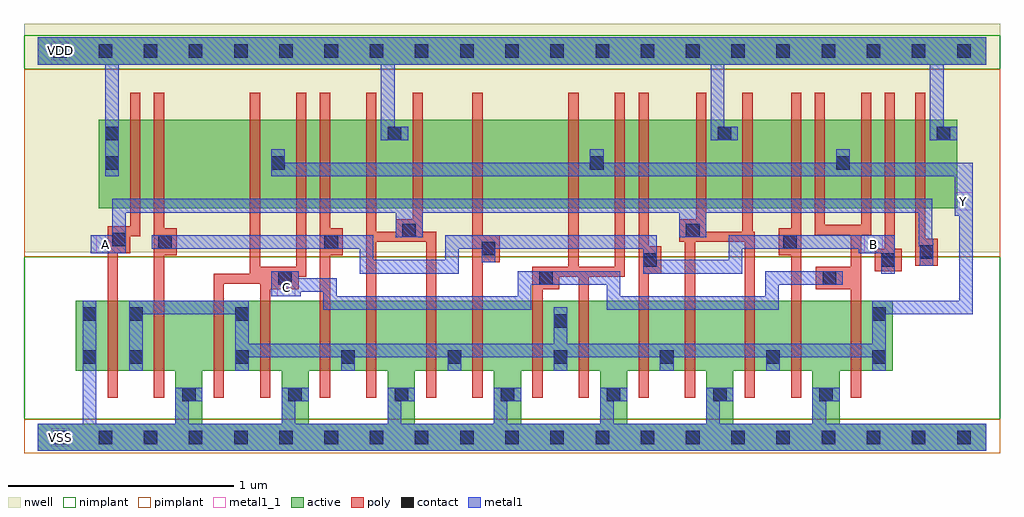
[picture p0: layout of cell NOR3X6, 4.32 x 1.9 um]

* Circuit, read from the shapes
.subckt NOR3X6 A B C VDD VSS Y
M1 Y A VSS VSS nfet w=0.31u l=0.045u m=5
M2 VSS B Y VSS nfet w=0.31u l=0.045u m=5
M3 Y C VSS VSS nfet w=0.31u l=0.045u m=5
M4 n1 A VDD VDD pfet w=0.39u l=0.045u
M5 n2 B n1 VDD pfet w=0.39u l=0.045u
M6 Y C n2 VDD pfet w=0.39u l=0.045u
M7 n3 C Y VDD pfet w=0.39u l=0.045u
M8 n4 B n3 VDD pfet w=0.39u l=0.045u
M9 VDD A n4 VDD pfet w=0.39u l=0.045u
M10 n5 A VDD VDD pfet w=0.39u l=0.045u
M11 n6 B n5 VDD pfet w=0.39u l=0.045u
M12 Y C n6 VDD pfet w=0.39u l=0.045u
M13 n7 C Y VDD pfet w=0.39u l=0.045u
M14 n8 B n7 VDD pfet w=0.39u l=0.045u
M15 VDD A n8 VDD pfet w=0.39u l=0.045u
M16 n9 A VDD VDD pfet w=0.39u l=0.045u
M17 n10 B n9 VDD pfet w=0.39u l=0.045u
M18 Y C n10 VDD pfet w=0.39u l=0.045u
M19 n11 C Y VDD pfet w=0.39u l=0.045u
M20 n12 B n11 VDD pfet w=0.39u l=0.045u
M21 VDD A n12 VDD pfet w=0.39u l=0.045u
.ends

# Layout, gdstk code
import gdstk
lib = gdstk.Library(unit=1e-6, precision=5e-10)
def R(c, l, rs):  # rectangles x0, y0, x1, y1
    for r in rs: c.add(gdstk.rectangle(r[:2], r[2:], *l))
def A(c, l, x, y, w, h, nx, ny, dx, dy):  # array of equal rectangles
    R(c, l, [(x+i*dx, y+j*dy, x+i*dx+w, y+j*dy+h) for i in range(nx) for j in range(ny)])
def P(c, l, *ps):  # polygons
    for p in ps: c.add(gdstk.Polygon(p, *l))
active = (1, 0)
nwell = (2, 0)
poly = (3, 0)
nimplant = (4, 0)
pimplant = (5, 0)
contact = (6, 0)
metal1 = (7, 0)
metal1_1 = (7, 1)

nor3x6 = lib.new_cell('NOR3X6')
R(nor3x6, active, [(0.27,1.015,4.07,1.405), (0,1.65,4.2,1.77)])
P(nor3x6, active, [(0.17,0.605),(3.785,0.605),(3.785,0.295),(3.55,0.295),(3.55,0.06),(4.2,0.06),(4.2,-0.06),(0,-0.06),(0,0.06),(0.61,0.06),(0.61,0.295),(0.73,0.295),(0.73,0.06),(1.08,0.06),(1.08,0.295),(1.2,0.295),(1.2,0.06),(1.55,0.06),(1.55,0.295),(1.67,0.295),(1.67,0.06),(2.02,0.06),(2.02,0.295),(2.14,0.295),(2.14,0.06),(2.49,0.06),(2.49,0.295),(2.61,0.295),(2.61,0.06),(2.96,0.06),(2.96,0.295),(3.08,0.295),(3.08,0.06),(3.43,0.06),(3.43,0.295),(0.17,0.295)])
R(nor3x6, nwell, [(-0.06,0.82,4.26,1.83)])
P(nor3x6, poly, [(0.41,1.525),(0.455,1.525),(0.455,0.89),(0.41,0.89),(0.41,0.815),(0.355,0.815),(0.355,0.175),(0.31,0.175),(0.31,0.935),(0.41,0.935)],
  [(0.515,1.525),(0.56,1.525),(0.56,0.925),(0.615,0.925),(0.615,0.805),(0.56,0.805),(0.56,0.175),(0.515,0.175)],
  [(0.94,1.525),(0.985,1.525),(0.985,0.755),(1.145,0.755),(1.145,1.525),(1.19,1.525),(1.19,0.71),(1.155,0.71),(1.155,0.655),(1.03,0.655),(1.03,0.175),(0.985,0.175),(0.985,0.68),(0.825,0.68),(0.825,0.175),(0.78,0.175),(0.78,0.725),(0.94,0.725)],
  [(1.25,1.525),(1.295,1.525),(1.295,0.925),(1.35,0.925),(1.35,0.805),(1.295,0.805),(1.295,0.175),(1.25,0.175)],
  [(1.455,1.525),(1.5,1.525),(1.5,0.91),(1.585,0.91),(1.585,0.965),(1.66,0.965),(1.66,1.525),(1.705,1.525),(1.705,0.91),(1.765,0.91),(1.765,0.175),(1.72,0.175),(1.72,0.865),(1.5,0.865),(1.5,0.175),(1.455,0.175)],
  [(1.925,1.525),(1.97,1.525),(1.97,0.895),(2.045,0.895),(2.045,0.775),(1.97,0.775),(1.97,0.175),(1.925,0.175)],
  [(2.35,1.525),(2.395,1.525),(2.395,0.755),(2.555,0.755),(2.555,1.525),(2.6,1.525),(2.6,0.71),(2.44,0.71),(2.44,0.175),(2.395,0.175),(2.395,0.71),(2.31,0.71),(2.31,0.655),(2.235,0.655),(2.235,0.175),(2.19,0.175),(2.19,0.755),(2.35,0.755)],
  [(2.66,1.525),(2.705,1.525),(2.705,0.845),(2.76,0.845),(2.76,0.725),(2.705,0.725),(2.705,0.175),(2.66,0.175)],
  [(2.915,1.525),(2.96,1.525),(2.96,0.91),(3.12,0.91),(3.12,1.525),(3.165,1.525),(3.165,0.91),(3.175,0.91),(3.175,0.175),(3.13,0.175),(3.13,0.865),(2.91,0.865),(2.91,0.175),(2.865,0.175),(2.865,0.865),(2.84,0.865),(2.84,0.965),(2.915,0.965)],
  [(3.335,1.525),(3.38,1.525),(3.38,0.175),(3.335,0.175),(3.335,0.805),(3.28,0.805),(3.28,0.925),(3.335,0.925)],
  [(3.44,1.525),(3.485,1.525),(3.485,0.94),(3.645,0.94),(3.645,1.525),(3.69,1.525),(3.69,0.895),(3.645,0.895),(3.645,0.175),(3.6,0.175),(3.6,0.655),(3.445,0.655),(3.445,0.755),(3.6,0.755),(3.6,0.895),(3.44,0.895)],
  [(3.75,1.525),(3.795,1.525),(3.795,0.835),(3.825,0.835),(3.825,0.735),(3.705,0.735),(3.705,0.835),(3.75,0.835)],
  [(3.885,1.525),(3.93,1.525),(3.93,0.88),(3.985,0.88),(3.985,0.76),(3.885,0.76)])
R(nor3x6, nimplant, [(-0.06,0.08,4.26,0.8), (-0.06,1.63,4.26,1.78)])
R(nor3x6, pimplant, [(-0.06,-0.07,4.26,0.08), (-0.06,0.8,4.26,1.63)])
A(nor3x6, contact, 0.07, -0.03, 0.06, 0.06, 21, 2, 0.2, 1.71)
A(nor3x6, contact, 0.64, 0.16, 0.06, 0.06, 7, 1, 0.47, 0)
A(nor3x6, contact, 0.405, 0.325, 0.06, 0.06, 8, 1, 0.47, 0)
R(nor3x6, contact, [(0.2,0.325,0.26,0.385), (2.285,0.485,2.345,0.545), (0.2,0.515,0.26,0.575), (0.405,0.515,0.465,0.575), (0.875,0.515,0.935,0.575), (3.695,0.515,3.755,0.575), (1.065,0.675,1.125,0.735), (2.22,0.675,2.28,0.735), (3.475,0.675,3.535,0.735), (2.68,0.755,2.74,0.815), (3.735,0.755,3.795,0.815), (3.905,0.79,3.965,0.85), (1.965,0.805,2.025,0.865), (0.535,0.835,0.595,0.895), (1.27,0.835,1.33,0.895), (3.3,0.835,3.36,0.895), (0.33,0.845,0.39,0.905), (1.615,0.885,1.675,0.945), (2.87,0.885,2.93,0.945), (0.3,1.185,0.36,1.245), (1.035,1.185,1.095,1.245), (2.445,1.185,2.505,1.245), (3.535,1.185,3.595,1.245), (0.3,1.315,0.36,1.375), (1.55,1.315,1.61,1.375), (3.01,1.315,3.07,1.375), (3.98,1.315,4.04,1.375)])
P(nor3x6, metal1, [(0,1.77),(4.2,1.77),(4.2,1.65),(4.01,1.65),(4.01,1.375),(4.07,1.375),(4.07,1.315),(3.95,1.315),(3.95,1.65),(3.04,1.65),(3.04,1.375),(3.1,1.375),(3.1,1.315),(2.98,1.315),(2.98,1.65),(1.58,1.65),(1.58,1.375),(1.64,1.375),(1.64,1.315),(1.52,1.315),(1.52,1.65),(0.36,1.65),(0.36,1.155),(0.3,1.155),(0.3,1.65),(0,1.65)],
  [(1.035,1.275),(1.095,1.275),(1.095,1.215),(2.445,1.215),(2.445,1.275),(2.505,1.275),(2.505,1.215),(3.535,1.215),(3.535,1.275),(3.595,1.275),(3.595,1.215),(4.14,1.215),(4.14,0.545),(3.755,0.545),(3.755,0.295),(3.695,0.295),(3.695,0.355),(3.285,0.355),(3.285,0.295),(3.225,0.295),(3.225,0.355),(2.815,0.355),(2.815,0.295),(2.755,0.295),(2.755,0.355),(2.345,0.355),(2.345,0.295),(2.285,0.295),(2.285,0.355),(1.875,0.355),(1.875,0.295),(1.815,0.295),(1.815,0.355),(1.405,0.355),(1.405,0.295),(1.345,0.295),(1.345,0.355),(0.935,0.355),(0.935,0.295),(0.875,0.295),(0.875,0.545),(0.465,0.545),(0.465,0.295),(0.405,0.295),(0.405,0.605),(0.935,0.605),(0.935,0.415),(2.285,0.415),(2.285,0.575),(2.345,0.575),(2.345,0.415),(3.695,0.415),(3.695,0.605),(4.08,0.605),(4.08,0.98),(4.06,0.98),(4.06,1.155),(1.035,1.155)],
  [(0.33,1.055),(3.96,1.055),(3.96,0.88),(3.965,0.88),(3.965,0.76),(3.905,0.76),(3.905,0.845),(3.9,0.845),(3.9,0.995),(2.96,0.995),(2.96,0.885),(2.84,0.885),(2.84,0.995),(1.705,0.995),(1.705,0.885),(1.585,0.885),(1.585,0.995),(0.39,0.995),(0.39,0.815),(0.235,0.815),(0.235,0.895),(0.33,0.895)],
  [(0.505,0.895),(1.485,0.895),(1.485,0.785),(1.805,0.785),(1.805,0.895),(2.74,0.895),(2.74,0.785),(3.06,0.785),(3.06,0.895),(3.795,0.895),(3.795,0.725),(3.735,0.725),(3.735,0.815),(3.635,0.815),(3.635,0.835),(3.12,0.835),(3.12,0.725),(2.68,0.725),(2.68,0.835),(2.025,0.835),(2.025,0.775),(1.965,0.775),(1.965,0.835),(1.865,0.835),(1.865,0.725),(1.425,0.725),(1.425,0.835),(0.505,0.835)],
  [(1.035,0.735),(1.155,0.735),(1.155,0.705),(1.325,0.705),(1.325,0.625),(2.125,0.625),(2.125,0.735),(2.58,0.735),(2.58,0.625),(3.22,0.625),(3.22,0.735),(3.565,0.735),(3.565,0.675),(3.28,0.675),(3.28,0.565),(2.52,0.565),(2.52,0.675),(2.185,0.675),(2.185,0.565),(1.265,0.565),(1.265,0.645),(1.165,0.645),(1.165,0.625),(1.035,0.625)],
  [(0.2,0.605),(0.26,0.605),(0.26,0.06),(0.61,0.06),(0.61,0.22),(0.73,0.22),(0.73,0.16),(0.67,0.16),(0.67,0.06),(1.08,0.06),(1.08,0.22),(1.2,0.22),(1.2,0.16),(1.14,0.16),(1.14,0.06),(1.55,0.06),(1.55,0.22),(1.67,0.22),(1.67,0.16),(1.61,0.16),(1.61,0.06),(2.02,0.06),(2.02,0.22),(2.14,0.22),(2.14,0.16),(2.08,0.16),(2.08,0.06),(2.49,0.06),(2.49,0.22),(2.61,0.22),(2.61,0.16),(2.55,0.16),(2.55,0.06),(2.96,0.06),(2.96,0.22),(3.08,0.22),(3.08,0.16),(3.02,0.16),(3.02,0.06),(3.43,0.06),(3.43,0.22),(3.55,0.22),(3.55,0.16),(3.49,0.16),(3.49,0.06),(4.2,0.06),(4.2,-0.06),(0,-0.06),(0,0.06),(0.2,0.06)])
R(nor3x6, metal1_1, [(0.06,-0.04,0.14,0.04), (1.06,0.625,1.14,0.705), (0.26,0.815,0.34,0.895), (3.66,0.815,3.74,0.895), (4.06,1.005,4.14,1.085), (0.06,1.67,0.14,1.75)])
nor3x6.add(gdstk.Label('Y', (4.1,1.045), layer=7, texttype=1))
nor3x6.add(gdstk.Label('A', (0.3,0.855), layer=7, texttype=1))
nor3x6.add(gdstk.Label('B', (3.7,0.855), layer=7, texttype=1))
nor3x6.add(gdstk.Label('C', (1.1,0.665), layer=7, texttype=1))
nor3x6.add(gdstk.Label('VDD', (0.1,1.71), layer=7, texttype=1))
nor3x6.add(gdstk.Label('VSS', (0.1,0), layer=7, texttype=1))
nor3x6.add(gdstk.Label('NOR3X6', (0,0), layer=63, texttype=0))

lib.write_gds('NOR3X6.gds')
